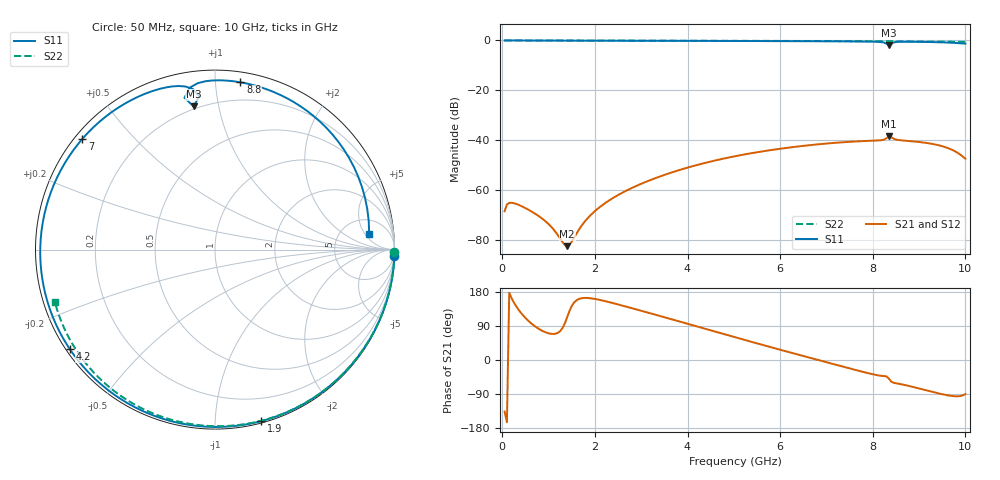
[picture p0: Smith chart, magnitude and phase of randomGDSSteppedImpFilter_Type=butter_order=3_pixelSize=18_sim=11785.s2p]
! freq	dB(S11)	phase(S11)	dB(S12)	phase(S12)
!  dB(S21)	phase(S21)	dB(S22)	phase(S22)
!S-par simulation data
#  GHz  S  DB  R 50
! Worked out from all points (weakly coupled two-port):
!   200 points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, 50 MHz to 10 GHz, reference 50 ohm
!   highest |S21| = -38.39 dB at 8.35 GHz (marker M1); lowest = -82.3 dB at 1.4 GHz (marker M2)
!   lowest |S11| = -1.9 dB at 8.35 GHz (marker M3), VSWR 9.36, Z = 9.23 + j42.2 ohm
!   |S11| at or under -10 dB: nowhere
!   |S22| runs from -0.5 to 0.0 dB; largest |S21 - S12| = 0
!   S11 on the Smith chart (normalised r, x): 50 MHz: 0, -55; 1.9 GHz: 0.01, -1.31; 4.2 GHz: 0.01, -0.31; 7 GHz: 0.02, +0.36; 8.8 GHz: 0.07, +1.16; 10 GHz: 9, +6
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0.05  -0.00 -2.1  -68.35 -135.9  -68.35 -135.9  -0.00 -0.9
0.15  -0.00 -6.3  -65.03 177.3  -65.03 177.3  -0.00 -2.8
0.4  -0.01 -16.7  -66.18 124.9  -66.18 124.9  -0.00 -7.4
0.9  -0.04 -37.1  -71.87 74.9  -71.87 74.9  -0.02 -16.5
1.3  -0.06 -52.7  -80.70 84.2  -80.70 84.2  -0.03 -23.7
1.4  -0.07 -56.5  -82.34 112.6  -82.34 112.6  -0.03 -25.5
1.5  -0.07 -60.3  -80.53 142.5  -80.53 142.5  -0.03 -27.3
1.75  -0.08 -69.5  -73.21 163.7  -73.21 163.7  -0.04 -31.8
1.9  -0.09 -74.9  -70.04 163.0  -70.04 163.0  -0.04 -34.4
2.5  -0.11 -95.3  -61.87 146.6  -61.87 146.6  -0.06 -44.9
3.4  -0.14 -123.1  -54.47 116.3  -54.47 116.3  -0.08 -60.3
4.2  -0.17 -145.6  -49.87 88.7  -49.87 88.7  -0.10 -73.5
5.05  -0.21 -168.0  -46.25 59.3  -46.25 59.3  -0.13 -87.1
5.9  -0.25 170.0  -43.60 30.4  -43.60 30.4  -0.17 -100.3
6.7  -0.31 148.6  -41.79 3.9  -41.79 3.9  -0.22 -112.3
7  -0.33 140.3  -41.26 -5.9  -41.26 -5.9  -0.24 -116.8
8.05  -0.50 106.7  -40.09 -39.0  -40.09 -39.0  -0.33 -132.4
8.35  -1.86 98.5  -38.39 -49.4  -38.39 -49.4  -0.35 -136.8
8.5  -0.61 95.9  -39.64 -61.2  -39.64 -61.2  -0.37 -139.1
8.8  -0.51 81.3  -40.28 -69.0  -40.28 -69.0  -0.40 -143.6
9.45  -0.73 47.5  -42.07 -88.9  -42.07 -88.9  -0.48 -153.4
10  -1.28 5.9  -47.35 -90.0  -47.35 -90.0  -0.55 -161.9
